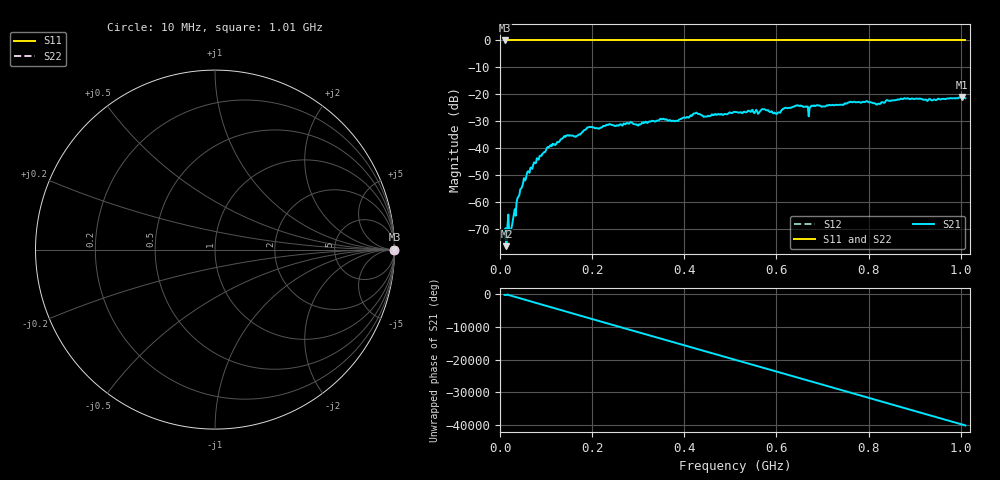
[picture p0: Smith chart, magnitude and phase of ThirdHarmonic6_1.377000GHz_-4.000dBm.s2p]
! 8/16/2025 3:37:28 PM
! C:\ANRITSUVNA\TEMP\TEMP.S2P
! CHANNEL.1
! TR.MEASUREMENT
! RAW.DATA
! RF.CORRECTION.OFF
! AVERAGING.OFF
! IF.BANDWIDTH: 5KHZ
! SWEEPTYPE:  FREQ.SWEEP(Linear)
! Reference Plane Port Info
! PORT:  PORT1  PORT2
! DISTANCE:  0  m  0  m
! TIME:  0  s  0  s
! PHASE.OFFSET:  0  deg.  0  deg.
! LOSS:  0  dB  0  dB
! REF.LOSS:  0  dB  0  dB
! REF.FREQ:  0  Hz  0  Hz
! Power Info
! POWER:  -20  dBm  -20  dBm
! EFF.POWER:  -20  dBm  -20  dBm
! SOURCE.ATTEN:  0  dB  0  dB
! TEST.ATTEN:  0  dB  0  dB
# GHZ S RI R 50.0
! FREQ.GHZ  S11RE  S11IM  S21RE  S21IM  S12RE  S12IM  S22RE  S22IM
!; PortSelection: Port_12
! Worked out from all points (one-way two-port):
!   501 points, 10 MHz to 1.01 GHz, reference 50 ohm
!   highest |S21| = -20.97 dB at 1.002 GHz (marker M1); lowest = -76.4 dB at 14 MHz (marker M2)
!   lowest |S11| = 0.0 dB at 10 MHz (marker M3)
!   |S11| at or under -10 dB: nowhere
!   |S22| runs from 0.0 to 0.0 dB; largest |S21 - S12| = 1.1
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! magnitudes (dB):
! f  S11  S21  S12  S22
! 10 MHz  0.0  -73.2  0.0  0.0
! 14 MHz  0.0  -76.4  0.0  0.0
! 24 MHz  0.0  -70.1  0.0  0.0
! 40 MHz  0.0  -57.9  0.0  0.0
! 48 MHz  0.0  -54.3  0.0  0.0
! 76 MHz  0.0  -45.6  0.0  0.0
! 106 MHz  0.0  -39.7  0.0  0.0
! 144 MHz  0.0  -35.2  0.0  0.0
! 178 MHz  0.0  -34.2  0.0  0.0
! 194 MHz  0.0  -32.1  0.0  0.0
! 344 MHz  0.0  -29.7  0.0  0.0
! 382 MHz  0.0  -29.8  0.0  0.0
! 424 MHz  0.0  -27.1  0.0  0.0
! 446 MHz  0.0  -28.2  0.0  0.0
! 510 MHz  0.0  -26.5  0.0  0.0
! 572 MHz  0.0  -25.5  0.0  0.0
! 598 MHz  0.0  -27.1  0.0  0.0
! 642 MHz  0.0  -24.2  0.0  0.0
! 678 MHz  0.0  -24.2  0.0  0.0
! 844 MHz  0.0  -22.4  0.0  0.0
! 1.002 GHz  0.0  -21.0  0.0  0.0
! 1.01 GHz  0.0  -21.5  0.0  0.0
